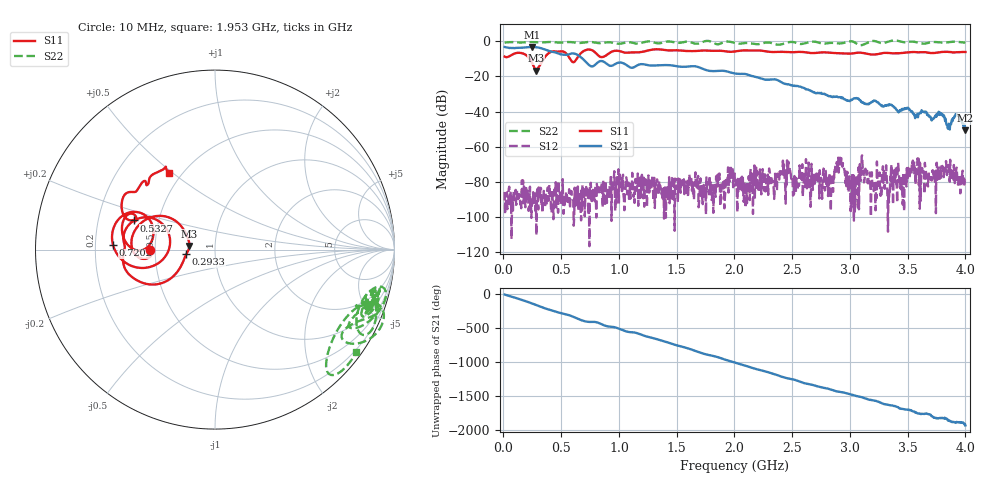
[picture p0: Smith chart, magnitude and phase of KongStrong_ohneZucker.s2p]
!  26/06/2026  14:27:59
! Ref Plane: 0.000 mm
# MHZ S MA R  50
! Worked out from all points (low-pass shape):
!   1001 points, 10 MHz to 4 GHz, reference 50 ohm
!   highest |S21| = -3.28 dB at 245.4 MHz (marker M1); lowest = -50.7 dB at 4 GHz (marker M2)
!   |S21| within 3 dB of the highest: start of sweep to 443.3 MHz
!   lowest |S11| = -16.8 dB at 281.3 MHz (marker M3), VSWR 1.34, Z = 37.5 + j1.57 ohm
!   |S11| at or under -10 dB: 226.6 MHz to 349 MHz (122.4 MHz wide, 42.5 % of centre); 576.3 MHz to 634.3 MHz (57.96 MHz wide, 9.58 % of centre)
!   |S22| runs from -2.3 to 0.4 dB; largest |S21 - S12| = 0.69
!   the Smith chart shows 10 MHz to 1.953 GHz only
!   S11 on the Smith chart (normalised r, x): 10 MHz: 0.47, -0.00; 293.3 MHz: 0.72, -0.04; 532.7 MHz: 0.36, +0.15; 720.2 MHz: 0.28, +0.02; 1.953 GHz: 0.42, +0.48
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10  0.3646 -179.7  0.6838 -7.9  5.228e-05 -42.4  0.9101 -20.1
145.66  0.4646 169.5  0.6498 -79.7  2.284e-05 -137.6  0.916 -17.4
245.41  0.249 144.3  0.6854 -138.3  2.107e-05 89.4  0.9476 -17.3
281.32  0.1437 171.8  0.674 -161.2  2.835e-05 -89.1  0.9398 -18.7
293.29  0.1626 -170.8  0.6699 -169.5  6.312e-05 113.5  0.9284 -19.0
397.03  0.4679 -158.7  0.5234 128.4  8.391e-05 -144.2  0.9464 -14.1
532.69  0.4781 160.1  0.409 63.1  3.41e-05 58.6  0.9335 -19.0
676.33  0.4752 -169.0  0.3377 -27.7  6.797e-05 -179.2  0.8966 -24.2
720.22  0.5683 177.5  0.2435 -48.0  4.208e-05 21.0  0.9396 -21.2
1027.45  0.4971 156.5  0.2429 -170.8  5.489e-05 -49.0  0.8675 -20.2
1342.66  0.588 148.3  0.2063 46.2  4.203e-05 -19.6  0.865 -21.6
1617.97  0.5224 136.4  0.1931 -93.4  0.0001199 -60.7  0.9398 -23.7
1953.13  0.501 121.1  0.1327 93.5  0.0001723 -59.8  0.9728 -36.1
2005  0.5104 119.1  0.1206 67.4  7.912e-05 45.0  0.8847 -17.0
2671.33  0.4593 100.4  0.0379 100.5  7.952e-05 69.3  0.9646 -22.6
2918.71  0.4514 97.0  0.02553 -6.4  0.0003145 -147.7  0.8628 -44.1
3002.5  0.4432 92.9  0.02014 -41.8  9.259e-05 -140.5  0.9926 -18.9
3102.25  0.4668 94.0  0.01892 -82.5  0.0005514 118.8  0.7732 -47.3
3337.66  0.4618 85.8  0.01518 159.3  2.591e-05 -160.3  0.9855 -36.1
3445.39  0.4602 83.1  0.0114 107.4  6.077e-05 -80.9  0.9658 -1.5
3545.14  0.4895 83.2  0.009056 69.1  0.0004054 54.9  0.9732 -27.6
4000  0.4919 83.0  0.002929 -140.3  0.000113 17.1  0.9038 -9.6
